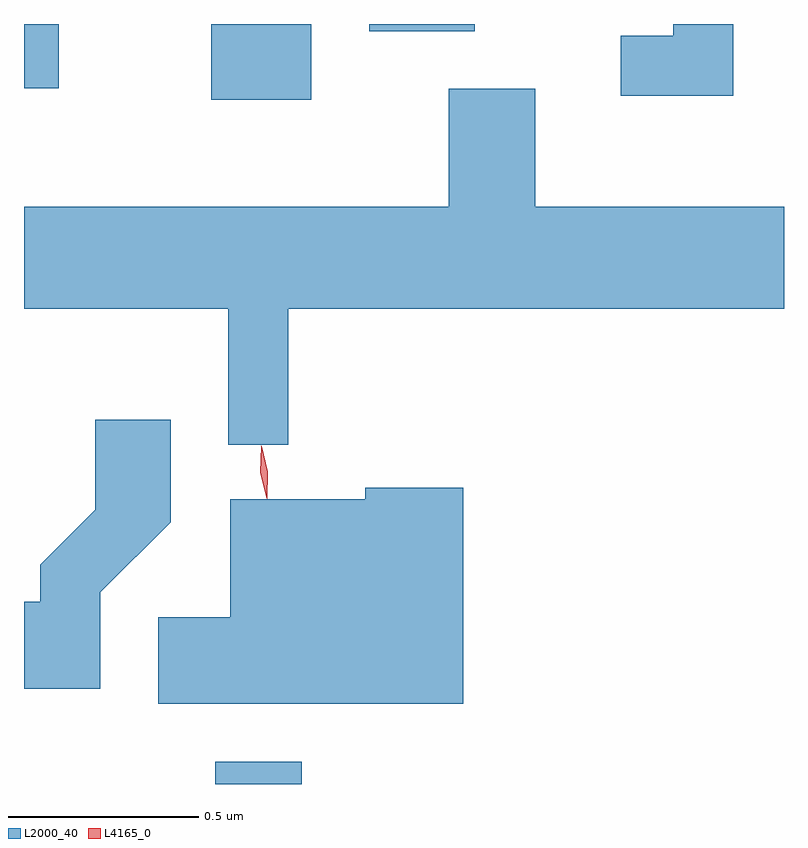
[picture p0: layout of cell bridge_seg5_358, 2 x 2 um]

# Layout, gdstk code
import gdstk
lib = gdstk.Library(unit=1e-6, precision=1e-09)
def R(c, l, rs):  # rectangles x0, y0, x1, y1
    for r in rs: c.add(gdstk.rectangle(r[:2], r[2:], *l))
def P(c, l, *ps):  # polygons
    for p in ps: c.add(gdstk.Polygon(p, *l))
L2000_40 = (2000, 40)
L4165_0 = (4165, 0)

bridge_seg5_358 = lib.new_cell('bridge_seg5_358')
R(bridge_seg5_358, L2000_40, [(672.191,1408.925,672.419,1408.984), (672.181,1410.726,672.444,1410.925), (671.688,1410.756,671.779,1410.925), (672.596,1410.906,672.874,1410.925)])
P(bridge_seg5_358, L2000_40, [(673.554,1410.925),(673.396,1410.925),(673.396,1410.894),(673.258,1410.894),(673.258,1410.736),(673.554,1410.736)],
  [(672.384,1410.176),(673.688,1410.176),(673.688,1410.444),(673.034,1410.444),(673.034,1410.754),(672.806,1410.754),(672.806,1410.444),(671.688,1410.444),(671.688,1410.176),(672.226,1410.176),(672.226,1409.818),(672.384,1409.818)],
  [(671.889,1409.429),(672.074,1409.614),(672.074,1409.884),(671.876,1409.884),(671.876,1409.647),(671.731,1409.502),(671.731,1409.404),(671.688,1409.404),(671.688,1409.176),(671.889,1409.176)],
  [(672.844,1409.704),(672.586,1409.704),(672.586,1409.674),(672.231,1409.674),(672.231,1409.364),(672.041,1409.364),(672.041,1409.136),(672.844,1409.136)])
P(bridge_seg5_358, L4165_0, [(672.328,1409.676),(672.327,1409.677),(672.31,1409.744),(672.312,1409.814),(672.312,1409.815),(672.313,1409.814),(672.33,1409.747),(672.328,1409.677)])

lib.write_gds('bridge_seg5_358.gds')
